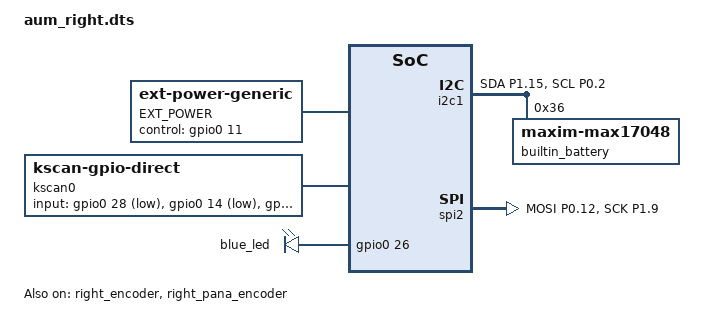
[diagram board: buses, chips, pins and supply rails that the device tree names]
#include "aum.dtsi"
#include <dt-bindings/led/led.h>

/ {
	EXT_POWER {
	compatible = "zmk,ext-power-generic";
		control-gpios = <&gpio0 11 GPIO_ACTIVE_HIGH>;
		init-delay-ms = <50>;
	};
};

&pinctrl {
    i2c1_default: i2c1_default {
        group1 {
            psels = <NRF_PSEL(TWIM_SDA, 1, 15)>,
                <NRF_PSEL(TWIM_SCL, 0, 2)>;
						bias-pull-up;
        };
    };

    i2c1_sleep: i2c1_sleep {
        group1 {
            psels = <NRF_PSEL(TWIM_SDA, 1, 15)>,
                <NRF_PSEL(TWIM_SCL, 0, 2)>;
            low-power-enable;
						bias-pull-up;
        };
    };
		spi2_default: spi2_default {
				group1 {
						psels = <NRF_PSEL(SPIM_MOSI, 0, 12)>,
								<NRF_PSEL(SPIM_SCK, 1, 9)>;
				};
		};

		spi2_sleep: spi2_sleep {
				group1 {
						psels = <NRF_PSEL(SPIM_MOSI, 0, 12)>,
								<NRF_PSEL(SPIM_SCK, 1, 9)>;
						low-power-enable;
				};
		};
};

&i2c1 {
	compatible = "nordic,nrf-twi";
	pinctrl-0 = <&i2c1_default>;
	pinctrl-1 = <&i2c1_sleep>;
	pinctrl-names = "default", "sleep"; 
	

	builtin_battery: max17048@36 {
		compatible = "zmk,maxim-max17048";
		status = "okay";
		reg = <0x36>;
	};

	status = "okay";
};

lpm_view_spi: &spi2 {
    compatible = "nordic,nrf-spim";
    pinctrl-0 = <&spi2_default>;
    pinctrl-1 = <&spi2_sleep>;
    pinctrl-names = "default", "sleep";
    cs-gpios = <&gpio0 4 (GPIO_ACTIVE_HIGH | GPIO_PULL_DOWN)>;
};

nice_view_spi: &spi2 {
    compatible = "nordic,nrf-spim";
    pinctrl-0 = <&spi2_default>;
    pinctrl-1 = <&spi2_sleep>;
    pinctrl-names = "default", "sleep";
    cs-gpios = <&gpio0 4 (GPIO_ACTIVE_HIGH | GPIO_PULL_DOWN)>;
};

&right_encoder {
    status = "okay";
};
&right_pana_encoder {
    status = "okay";
};
&default_transform {
		col-offset=<24>;
};

&matrix_physical_layout {
  	kscan = <&kscan0>;
};
/ {
	chosen {
		zmk,physical-layout=&matrix_physical_layout;
		zmk,battery =&builtin_battery;
	};
	kscan0: kscan {
		
		compatible = "zmk,kscan-gpio-direct";
		wakeup-source;
    input-gpios 
    = <&gpio0 28 (GPIO_ACTIVE_LOW | GPIO_PULL_UP)>  //ex1
    , <&gpio0 14 (GPIO_ACTIVE_LOW | GPIO_PULL_UP)> //4
    , <&gpio0 21 (GPIO_ACTIVE_LOW | GPIO_PULL_UP)> //5
    , <&gpio0 13 (GPIO_ACTIVE_LOW | GPIO_PULL_UP)> //12
    , <&gpio0 20 (GPIO_ACTIVE_LOW | GPIO_PULL_UP)>  //13
    , <&gpio1 0 (GPIO_ACTIVE_LOW | GPIO_PULL_UP)> //18
    , <&gpio1	6 (GPIO_ACTIVE_LOW | GPIO_PULL_UP)> // 19
    , <&gpio0 3 (GPIO_ACTIVE_LOW | GPIO_PULL_UP)> //ex2
    , <&gpio0 16 (GPIO_ACTIVE_LOW | GPIO_PULL_UP)> //3
    , <&gpio0 23 (GPIO_ACTIVE_LOW | GPIO_PULL_UP)> //6
    , <&gpio0 15 (GPIO_ACTIVE_LOW | GPIO_PULL_UP)> //11
    , <&gpio0 22 (GPIO_ACTIVE_LOW | GPIO_PULL_UP)> //14
    , <&gpio1 2 (GPIO_ACTIVE_LOW | GPIO_PULL_UP)> //17
    , <&gpio0 9 (GPIO_ACTIVE_LOW | GPIO_PULL_UP)> //20
    , <&gpio1 14 (GPIO_ACTIVE_LOW | GPIO_PULL_UP)> //ex3
    , <&gpio0 19 (GPIO_ACTIVE_LOW | GPIO_PULL_UP)> //2
    , <&gpio0 25 (GPIO_ACTIVE_LOW | GPIO_PULL_UP)> //7
    , <&gpio0 17 (GPIO_ACTIVE_LOW | GPIO_PULL_UP)> //10
    , <&gpio0 24 (GPIO_ACTIVE_LOW | GPIO_PULL_UP)> //15
    , <&gpio1 4 (GPIO_ACTIVE_LOW | GPIO_PULL_UP)> //16
    , <&gpio0 10 (GPIO_ACTIVE_LOW | GPIO_PULL_UP)> //21
    , <&gpio0 30 (GPIO_ACTIVE_LOW | GPIO_PULL_UP)> //1
    , <&gpio1 13 (GPIO_ACTIVE_LOW | GPIO_PULL_UP)>  //8
    , <&gpio1 10 (GPIO_ACTIVE_LOW | GPIO_PULL_UP)> //9
    ;
	};
	leds {
		compatible = "gpio-leds";
		blue_led: led_0 {
			gpios = <&gpio0 26 GPIO_ACTIVE_HIGH>;
		};
	};
};
